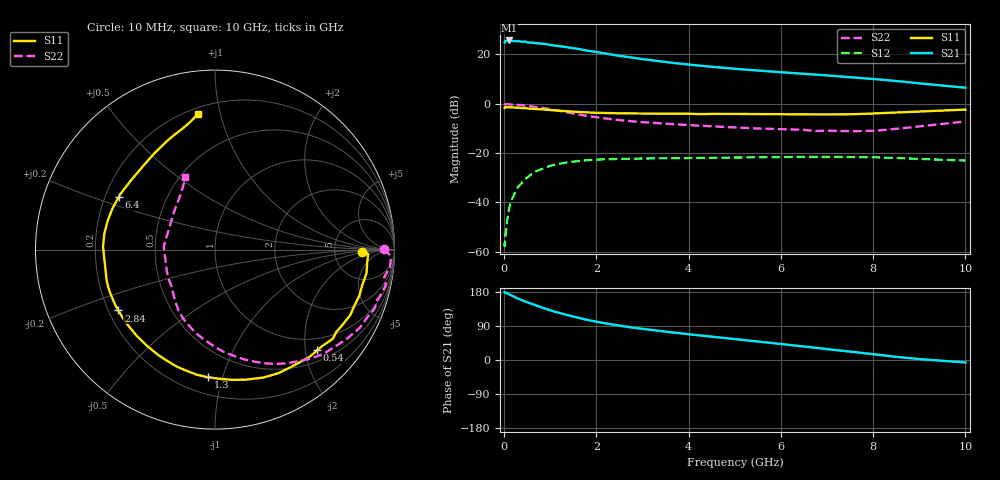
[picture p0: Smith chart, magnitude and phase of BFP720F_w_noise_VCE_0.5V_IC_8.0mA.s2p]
! Infineon Technologies  Discrete & RF Semiconductors
! BFP720F
! VCE =  0.5 V,  IC =  8.0 mA
! Common Emitter S-Parameters:  Jan 2016
# GHz  S  MA  R  50
!  f  S11  S21  S12  S22
! GHz  MAG  ANG  MAG  ANG  MAG  ANG  MAG  ANG
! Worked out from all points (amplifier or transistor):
!   233 points, 10 MHz to 10 GHz, reference 50 ohm
!   highest |S21| = 25.7 dB at 100 MHz (marker M1)
!   |S21| within 3 dB of that: start of sweep to 1.453 GHz
!   unconditionally stable (mu >= 1): start of sweep to 15.82 MHz; 7.062 GHz to end of sweep
!   at 200 MHz: K = 0.06, MSG = 31.5 dB, |S12| = -37.5 dB
!   at 1.74 GHz: K = 0.29, MSG = 22.3 dB, |S12| = -22.9 dB
!   at 10 GHz: K = 1.35, MAG = 11.2 dB, |S12| = -23.0 dB
!   lowest NFmin = 0.50 dB at 450 MHz
!   S11 on the Smith chart (normalised r, x): 10 MHz: 10, -1; 540 MHz: 0.72, -2.24; 1.3 GHz: 0.31, -0.90; 2.84 GHz: 0.24, -0.27; 6.4 GHz: 0.26, +0.24; 10 GHz: 0.24, +0.85
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0.01  0.8217 -0.8  17.57 179.1  0.0015 8.7  0.941 0.2
0.02  0.8533 -1.6  18.71 177.9  0.0016 74.0  0.9728 -1.7
0.1  0.8544 -8.9  19.22 173.6  0.0068 83.3  0.9799 -5.8
0.15  0.8437 -13.5  18.74 170.5  0.0107 79.1  0.955 -9.2
0.3  0.8375 -25.7  18.69 162.2  0.0205 74.8  0.9431 -17.9
0.4  0.8169 -34.2  18 157.1  0.0264 71.2  0.9306 -23.4
0.45  0.8234 -37.1  18.31 154.7  0.0294 69.2  0.9228 -26.0
0.5  0.8039 -41.8  17.56 152.4  0.0318 67.7  0.9164 -28.4
0.54  0.7994 -44.6  17.5 150.6  0.0342 65.7  0.9032 -30.7
0.8  0.774 -62.9  16.7 139.1  0.0469 56.0  0.838 -44.0
0.9  0.762 -69.3  16.25 135.2  0.051 52.4  0.8078 -48.8
1.08  0.7342 -81.2  15.15 128.1  0.0577 46.1  0.7505 -57.5
1.3  0.7126 -93.1  14.31 120.7  0.0636 39.8  0.6891 -66.7
1.68  0.6763 -112.5  12.53 109.1  0.0704 30.6  0.5931 -81.3
2.2  0.6491 -132.0  10.4 96.6  0.0752 21.3  0.5034 -97.3
2.84  0.636 -147.8  8.435 84.6  0.0773 13.5  0.4353 -111.5
3.4  0.6322 -156.6  7.21 76.3  0.0785 8.8  0.4008 -119.6
5.1  0.6216 170.4  5.038 53.9  0.0817 -1.7  0.3282 -136.5
6.4  0.6112 151.4  4.116 37.1  0.0838 -9.5  0.2983 -152.7
6.8  0.6069 144.5  3.87 31.7  0.0838 -12.0  0.2813 -171.7
8.4  0.6594 114.3  2.958 9.7  0.0804 -22.6  0.3041 140.0
10  0.7623 97.3  2.119 -6.6  0.0707 -27.5  0.4382 112.1
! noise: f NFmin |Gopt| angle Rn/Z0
0.45  0.5  0.36  4  0.12
0.9  0.52  0.34  9  0.16
1.8  0.57  0.32  16  0.15
2.4  0.6  0.29  26  0.14
5.5  0.76  0.28  53  0.08
10  0.98  0.26  -98  0.16
